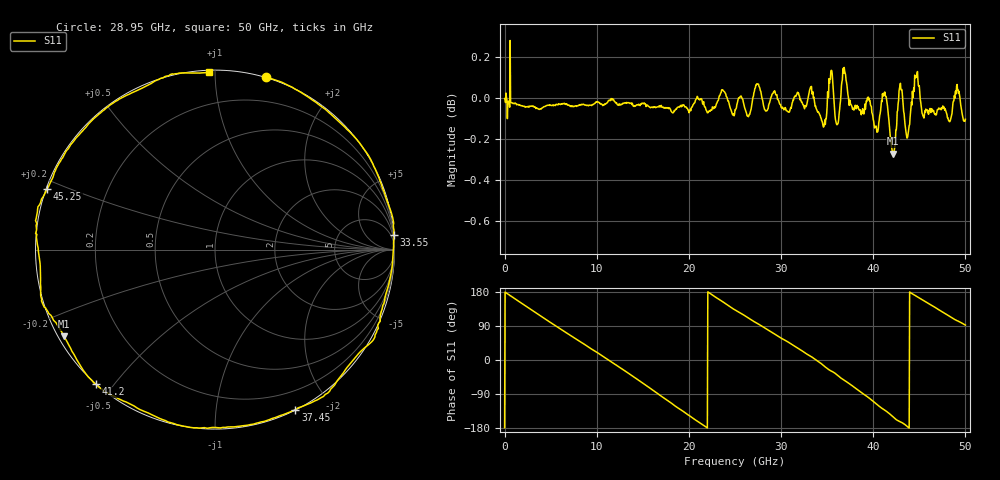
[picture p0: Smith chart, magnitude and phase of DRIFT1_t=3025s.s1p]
!Created with skrf (http://scikit-rf.org).
# Hz S RI R 50.0
!freq ReS11 ImS11
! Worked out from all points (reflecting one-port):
!   1001 points, 300 kHz to 50 GHz, reference 50 ohm
!   lowest |S11| = -0.3 dB at 42.15 GHz (marker M1), VSWR 64.11, Z = 0.836 - j13.4 ohm
!   phase of S11 starts at -179 deg and turns -809 deg over the sweep
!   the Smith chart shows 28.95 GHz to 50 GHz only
!   S11 on the Smith chart (normalised r, x): 28.95 GHz: -0.00, +1.34; 33.55 GHz: -0, +25; 37.45 GHz: 0.00, -1.62; 41.2 GHz: -0.00, -0.45; 45.25 GHz: 0.00, +0.18; 50 GHz: 0.01, +0.97
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300000  -0.9994 -0.0219
1.60029e9  -0.8931 0.4412
3.40028e9  -0.5604 0.821
6.250262e9  0.1931 0.9776
9.600242e9  0.8928 0.4421
1.110023e10  0.996 0.047
1.250022e10  0.9372 -0.3367
1.580021e10  0.263 -0.9592
1.72502e10  -0.1646 -0.9807
1.875019e10  -0.5779 -0.8096
2.050018e10  -0.9011 -0.4252
2.180017e10  -0.9918 -0.0723
2.350016e10  -0.9191 0.4015
2.500015e10  -0.6656 0.7374
2.720014e10  -0.1662 0.9916
2.895013e10  0.2815 0.9604
3.125011e10  0.7637 0.6421
3.35501e10  0.9972 0.0815
3.550009e10  0.8815 -0.5039
3.745008e10  0.4485 -0.8924
3.750008e10  0.4337 -0.8984
3.940006e10  -0.1327 -0.9913
4.120005e10  -0.6644 -0.7494
4.215005e10  -0.84 -0.4836
4.375004e10  -0.9773 -0.0559
4.525003e10  -0.9337 0.3402
4.770001e10  -0.5553 0.8254
5e10  -0.035 0.9875
